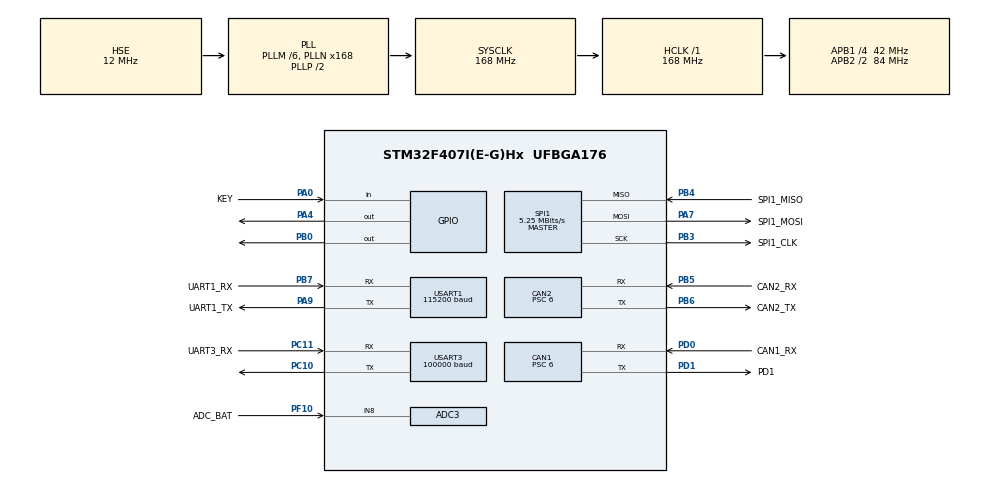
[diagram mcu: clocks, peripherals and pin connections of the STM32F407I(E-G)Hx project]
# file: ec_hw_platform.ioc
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ADC3.Channel-0\#ChannelRegularConversion=ADC_CHANNEL_8
ADC3.ExternalTrigConv=ADC_EXTERNALTRIGCONV_T3_TRGO
ADC3.NbrOfConversionFlag=1
ADC3.Rank-0\#ChannelRegularConversion=1
ADC3.SamplingTime-0\#ChannelRegularConversion=ADC_SAMPLETIME_28CYCLES
CAN1.ABOM=ENABLE
CAN1.BS1=CAN_BS1_5TQ
CAN1.CalculateBaudRate=1000000
CAN1.CalculateTimeBit=1000
CAN1.CalculateTimeQuantum=142.85714285714286
CAN1.Prescaler=6
CAN2.ABOM=ENABLE
CAN2.BS1=CAN_BS1_5TQ
CAN2.CalculateBaudRate=1000000
CAN2.CalculateTimeBit=1000
CAN2.CalculateTimeQuantum=142.85714285714286
CAN2.Prescaler=6
Dma.Request0=USART1_RX
Dma.Request1=USART1_TX
Dma.Request2=SPI1_RX
Dma.SPI1_RX.2.Direction=DMA_PERIPH_TO_MEMORY
Dma.SPI1_RX.2.FIFOMode=DMA_FIFOMODE_DISABLE
Dma.SPI1_RX.2.Instance=DMA2_Stream0
Dma.SPI1_RX.2.MemDataAlignment=DMA_MDATAALIGN_BYTE
Dma.SPI1_RX.2.MemInc=DMA_MINC_ENABLE
Dma.SPI1_RX.2.Mode=DMA_NORMAL
Dma.SPI1_RX.2.PeriphDataAlignment=DMA_PDATAALIGN_BYTE
Dma.SPI1_RX.2.PeriphInc=DMA_PINC_DISABLE
Dma.SPI1_RX.2.Priority=DMA_PRIORITY_LOW
Dma.USART1_RX.0.Direction=DMA_PERIPH_TO_MEMORY
Dma.USART1_RX.0.FIFOMode=DMA_FIFOMODE_DISABLE
Dma.USART1_RX.0.Instance=DMA2_Stream2
Dma.USART1_RX.0.MemDataAlignment=DMA_MDATAALIGN_BYTE
Dma.USART1_RX.0.MemInc=DMA_MINC_ENABLE
Dma.USART1_RX.0.Mode=DMA_NORMAL
Dma.USART1_RX.0.PeriphDataAlignment=DMA_PDATAALIGN_BYTE
Dma.USART1_RX.0.PeriphInc=DMA_PINC_DISABLE
Dma.USART1_RX.0.Priority=DMA_PRIORITY_LOW
Dma.USART1_TX.1.Direction=DMA_MEMORY_TO_PERIPH
Dma.USART1_TX.1.FIFOMode=DMA_FIFOMODE_DISABLE
Dma.USART1_TX.1.Instance=DMA2_Stream7
Dma.USART1_TX.1.MemDataAlignment=DMA_MDATAALIGN_BYTE
Dma.USART1_TX.1.MemInc=DMA_MINC_ENABLE
Dma.USART1_TX.1.Mode=DMA_NORMAL
Dma.USART1_TX.1.PeriphDataAlignment=DMA_PDATAALIGN_BYTE
Dma.USART1_TX.1.PeriphInc=DMA_PINC_DISABLE
Dma.USART1_TX.1.Priority=DMA_PRIORITY_LOW
IWDG.Prescaler=IWDG_PRESCALER_32
IWDG.Reload=1500
Mcu.Family=STM32F4
Mcu.Name=STM32F407I(E-G)Hx
Mcu.Package=UFBGA176
NVIC.ADC_IRQn=true\:0\:0\:false\:false\:true\:true\:true\:true
NVIC.CAN1_RX0_IRQn=true\:0\:0\:false\:false\:true\:true\:true\:true
NVIC.CAN1_RX1_IRQn=true\:0\:0\:false\:false\:true\:true\:true\:true
NVIC.CAN2_RX0_IRQn=true\:0\:0\:false\:false\:true\:true\:true\:true
NVIC.CAN2_RX1_IRQn=true\:0\:0\:false\:false\:true\:true\:true\:true
NVIC.DMA2_Stream0_IRQn=true\:0\:0\:false\:false\:true\:false\:true\:true
NVIC.DMA2_Stream2_IRQn=true\:0\:0\:false\:false\:true\:false\:true\:true
NVIC.DMA2_Stream7_IRQn=true\:0\:0\:false\:false\:true\:false\:true\:true
NVIC.PriorityGroup=NVIC_PRIORITYGROUP_4
NVIC.TIM6_DAC_IRQn=true\:0\:0\:false\:false\:true\:true\:true\:true
NVIC.TIM7_IRQn=true\:0\:0\:false\:false\:true\:true\:true\:true
NVIC.USART1_IRQn=true\:0\:0\:false\:false\:true\:true\:true\:true
NVIC.USART3_IRQn=true\:0\:0\:false\:false\:true\:true\:true\:true
PA0-WKUP.GPIO_Label=KEY
PA0-WKUP.Signal=GPIO_Input
PA13.Mode=Serial_Wire
PA13.Signal=SYS_JTMS-SWDIO
PA14.Mode=Serial_Wire
PA14.Signal=SYS_JTCK-SWCLK
PA4.GPIO_PuPd=GPIO_PULLUP
PA4.Signal=GPIO_Output
PA7.GPIO_Label=SPI1_MOSI
PA7.Mode=Full_Duplex_Master
PA7.Signal=SPI1_MOSI
PA9.GPIO_Label=UART1_TX
PA9.Mode=Asynchronous
PA9.Signal=USART1_TX
PB0.GPIO_PuPd=GPIO_PULLUP
PB0.Signal=GPIO_Output
PB3.GPIO_Label=SPI1_CLK
PB3.Mode=Full_Duplex_Master
PB3.Signal=SPI1_SCK
PB4.GPIO_Label=SPI1_MISO
PB4.Mode=Full_Duplex_Master
PB4.Signal=SPI1_MISO
PB5.GPIO_Label=CAN2_RX
PB5.Mode=CAN_Activate
PB5.Signal=CAN2_RX
PB6.GPIO_Label=CAN2_TX
PB6.Mode=CAN_Activate
PB6.Signal=CAN2_TX
PB7.GPIO_Label=UART1_RX
PB7.Mode=Asynchronous
PB7.Signal=USART1_RX
PC10.Mode=Asynchronous
PC10.Signal=USART3_TX
PC11.GPIO_Label=UART3_RX
PC11.Mode=Asynchronous
PC11.Signal=USART3_RX
PC14-OSC32_IN.Mode=LSE-External-Oscillator
PC14-OSC32_IN.Signal=RCC_OSC32_IN
PC15-OSC32_OUT.Mode=LSE-External-Oscillator
PC15-OSC32_OUT.Signal=RCC_OSC32_OUT
PC6.GPIO_Label=TIM8_CH1
PC6.Signal=S_TIM8_CH1
PC8.GPIO_Label=TIM3_CH3
PC8.Signal=S_TIM3_CH3
PD0.GPIO_Label=CAN1_RX
PD0.Mode=CAN_Activate
PD0.Signal=CAN1_RX
PD1.GPIO_Label=PD1
PD1.Mode=CAN_Activate
PD1.Signal=CAN1_TX
PD14.GPIO_Label=TIM4_CH3
PD14.Signal=S_TIM4_CH3
PE11.GPIO_Label=TIM1_CH2
PE11.Signal=S_TIM1_CH2
PE13.GPIO_Label=TIM1_CH3
PE13.Signal=S_TIM1_CH3
PE14.GPIO_Label=TIM1_CH4
PE14.Signal=S_TIM1_CH4
PE9.GPIO_Label=TIM1_CH1
PE9.Signal=S_TIM1_CH1
PF10.GPIO_Label=ADC_BAT
PF10.Mode=IN8
PF10.Signal=ADC3_IN8
PG14.GPIO_Label=UART6_TX
PG14.Signal=USART6_TX
PG9.GPIO_Label=UART6_RX
PG9.Signal=USART6_RX
PH0-OSC_IN.Mode=HSE-External-Oscillator
PH0-OSC_IN.Signal=RCC_OSC_IN
PH1-OSC_OUT.Mode=HSE-External-Oscillator
PH1-OSC_OUT.Signal=RCC_OSC_OUT
PH10.GPIO_Label=LED_B
PH10.Signal=S_TIM5_CH1
PH11.GPIO_Label=LED_G
PH11.Signal=S_TIM5_CH2
PH12.GPIO_Label=LED_R
PH12.Signal=S_TIM5_CH3
PI6.GPIO_Label=TIM8_CH2
PI6.Signal=S_TIM8_CH2
PI7.Signal=S_TIM8_CH3
ProjectManager.HeapSize=0x1000
ProjectManager.StackSize=0x2000
ProjectManager.TargetToolchain=MDK-ARM V5.32
RCC.48MHZClocksFreq_Value=84000000
RCC.AHBFreq_Value=168000000
RCC.APB1CLKDivider=RCC_HCLK_DIV4
RCC.APB1Freq_Value=42000000
RCC.APB1TimFreq_Value=84000000
RCC.APB2CLKDivider=RCC_HCLK_DIV2
RCC.APB2Freq_Value=84000000
RCC.APB2TimFreq_Value=168000000
RCC.CortexFreq_Value=168000000
RCC.HCLKFreq_Value=168000000
RCC.HSE_VALUE=12000000
RCC.HSI_VALUE=16000000
RCC.PLLM=6
RCC.PLLN=168
RCC.PLLSourceVirtual=RCC_PLLSOURCE_HSE
RCC.SYSCLKFreq_VALUE=168000000
RCC.SYSCLKSource=RCC_SYSCLKSOURCE_PLLCLK
RCC.VCOOutputFreq_Value=336000000
SH.S_TIM1_CH1.0=TIM1_CH1
SH.S_TIM1_CH2.0=TIM1_CH2
SH.S_TIM1_CH3.0=TIM1_CH3
SH.S_TIM1_CH4.0=TIM1_CH4
SH.S_TIM3_CH3.0=TIM3_CH3
SH.S_TIM4_CH3.0=TIM4_CH3
SH.S_TIM5_CH1.0=TIM5_CH1
SH.S_TIM5_CH2.0=TIM5_CH2
SH.S_TIM5_CH3.0=TIM5_CH3
SH.S_TIM8_CH1.0=TIM8_CH1
SH.S_TIM8_CH2.0=TIM8_CH2
SH.S_TIM8_CH3.0=TIM8_CH3
SPI1.BaudRatePrescaler=SPI_BAUDRATEPRESCALER_16
SPI1.CLKPhase=SPI_PHASE_2EDGE
SPI1.CalculateBaudRate=5.25 MBits/s
SPI1.Direction=SPI_DIRECTION_2LINES
SPI1.Mode=SPI_MODE_MASTER
SPI1.VirtualType=VM_MASTER
TIM3.TIM_MasterOutputTrigger=TIM_TRGO_UPDATE
TIM4.AutoReloadPreload=TIM_AUTORELOAD_PRELOAD_ENABLE
TIM5.Period=100-1
TIM6.Period=1000-1
TIM6.Prescaler=84-1
TIM7.Period=1000-1
TIM7.Prescaler=84-1
USART1.BaudRate=115200
USART1.VirtualMode=VM_ASYNC
USART3.BaudRate=100000
USART3.Parity=PARITY_EVEN
USART3.VirtualMode=VM_ASYNC
VP_IWDG_VS_IWDG.Mode=IWDG_Activate
VP_TIM3_VS_OPM.Mode=OPM_bit
VP_TIM4_VS_OPM.Mode=OPM_bit
VP_TIM5_VS_OPM.Mode=OPM_bit
VP_TIM6_VS_ClockSourceINT.Mode=Enable_Timer
VP_TIM7_VS_ClockSourceINT.Mode=Enable_Timer
board=custom

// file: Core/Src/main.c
/* USER CODE BEGIN Header */
/**
  ******************************************************************************
  * @file           : main.c
  * @brief          : Main program body
  ******************************************************************************
  * @attention
  *
  * Copyright (c) 2023 STMicroelectronics.
  * All rights reserved.
  *
  * This software is licensed under terms that can be found in the LICENSE file
  * in the root directory of this software component.
  * If no LICENSE file comes with this software, it is provided AS-IS.
  *
  ******************************************************************************
  */
/* USER CODE END Header */
#include "main.h"
#include "adc.h"
#include "can.h"
#include "dma.h"
#include "iwdg.h"
#include "spi.h"
#include "tim.h"
#include "usart.h"
#include "gpio.h"
#include "pid.h"

/* USER CODE BEGIN PV */
uint8_t RxData[18];
struct rc_ctrl{
    float ch[4];
    float s[2];
};
struct rc_ctrl rc;
static void rx_to_rc(struct rc_ctrl *rc);
/* USER CODE END PV */

void SystemClock_Config(void);

int main(void)
{

  /* MCU Configuration--------------------------------------------------------*/

  /* Reset of all peripherals, Initializes the Flash interface and the Systick. */
  HAL_Init();

  /* Configure the system clock */
  SystemClock_Config();

  /* Initialize all configured peripherals */
  MX_GPIO_Init();
  MX_DMA_Init();
  MX_ADC3_Init();
  MX_CAN1_Init();
  MX_CAN2_Init();
  MX_IWDG_Init();
  MX_SPI1_Init();
  MX_TIM3_Init();
  MX_TIM4_Init();
  MX_TIM5_Init();
  MX_TIM6_Init();
  MX_TIM7_Init();
  MX_USART1_UART_Init();
  MX_USART3_UART_Init();
  /* USER CODE BEGIN 2 */
  HAL_UART_Receive_IT(&huart3,RxData,18);
  HAL_IWDG_Refresh(&hiwdg);
  /* USER CODE END 2 */

  /* Infinite loop */
  while (1)
  {

  }
}

void SystemClock_Config(void)
{
  RCC_OscInitTypeDef RCC_OscInitStruct = {0};
  RCC_ClkInitTypeDef RCC_ClkInitStruct = {0};

  /** Configure the main internal regulator output voltage
  */
  __HAL_RCC_PWR_CLK_ENABLE();
  __HAL_PWR_VOLTAGESCALING_CONFIG(PWR_REGULATOR_VOLTAGE_SCALE1);

  /** Initializes the RCC Oscillators according to the specified parameters
  * in the RCC_OscInitTypeDef structure.
  */
  RCC_OscInitStruct.OscillatorType = RCC_OSCILLATORTYPE_LSI|RCC_OSCILLATORTYPE_HSE;
  RCC_OscInitStruct.HSEState = RCC_HSE_ON;
  RCC_OscInitStruct.LSIState = RCC_LSI_ON;
  RCC_OscInitStruct.PLL.PLLState = RCC_PLL_ON;
  RCC_OscInitStruct.PLL.PLLSource = RCC_PLLSOURCE_HSE;
  RCC_OscInitStruct.PLL.PLLM = 6;
  RCC_OscInitStruct.PLL.PLLN = 168;
  RCC_OscInitStruct.PLL.PLLP = RCC_PLLP_DIV2;
  RCC_OscInitStruct.PLL.PLLQ = 4;
  if (HAL_RCC_OscConfig(&RCC_OscInitStruct) != HAL_OK)
  {
    Error_Handler();
  }

  /** Initializes the CPU, AHB and APB buses clocks
  */
  RCC_ClkInitStruct.ClockType = RCC_CLOCKTYPE_HCLK|RCC_CLOCKTYPE_SYSCLK
                              |RCC_CLOCKTYPE_PCLK1|RCC_CLOCKTYPE_PCLK2;
  RCC_ClkInitStruct.SYSCLKSource = RCC_SYSCLKSOURCE_PLLCLK;
  RCC_ClkInitStruct.AHBCLKDivider = RCC_SYSCLK_DIV1;
  RCC_ClkInitStruct.APB1CLKDivider = RCC_HCLK_DIV4;
  RCC_ClkInitStruct.APB2CLKDivider = RCC_HCLK_DIV2;

  if (HAL_RCC_ClockConfig(&RCC_ClkInitStruct, FLASH_LATENCY_5) != HAL_OK)
  {
    Error_Handler();
  }
}

/* USER CODE BEGIN 4 */
void HAL_UART_RxCpltCallback(UART_HandleTypeDef *huart)
{
    if(huart==&huart3)
    {
        HAL_UART_Receive_IT(&huart3,RxData,18);
        rx_to_rc(&rc);
        HAL_IWDG_Refresh(&hiwdg);
    }
}

static void rx_to_rc(struct rc_ctrl *rc)
{

    rc->ch[0] = (RxData[0] | (RxData[1] << 8)) & 0x07ff;        //!< Channel 0
    rc->ch[1] = ((RxData[1] >> 3) | (RxData[2] << 5)) & 0x07ff; //!< Channel 1
    rc->ch[2] = ((RxData[2] >> 6) | (RxData[3] << 2) | (RxData[4] << 10)) &0x07ff;
    rc->ch[3] = ((RxData[4] >> 1) | (RxData[5] << 7)) & 0x07ff; //!< Channel 3
    rc->s[0] = ((RxData[5] >> 4) & 0x0003);                     //!< Switch left
    rc->s[1] = ((RxData[5] >> 4) & 0x000C) >> 2;                //!< Switch right
    rc->ch[0] = (rc->ch[0]-1024)/660;
    rc->ch[1] = (rc->ch[1]-1024)/660;
    rc->ch[2] = (rc->ch[2]-1024)/660;
    rc->ch[3] = (rc->ch[3]-1024)/660;
}

/* USER CODE END 4 */

void Error_Handler(void)
{
  __disable_irq();
  while (1)
  {
  }
}
